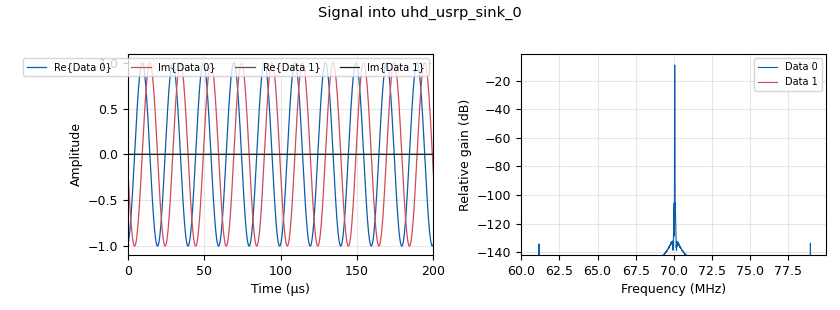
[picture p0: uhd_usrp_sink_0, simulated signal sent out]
options:
  parameters:
    generate_options: qt_gui
    id: tx_rx_cortex
    output_language: python
    title: Not titled yet
  states: {}

blocks:
- name: ampl
  id: variable_qtgui_range
  parameters:
    orient: Qt.Horizontal
    start: '0'
    step: '0.001'
    stop: '1'
    value: '1'
  states: {}
- name: if_freq
  id: variable
  parameters:
    value: '70000000'
  states: {}
- name: rf_gain
  id: variable_qtgui_range
  parameters:
    orient: Qt.Horizontal
    start: '-30'
    step: '1'
    stop: '30'
    value: '0'
  states: {}
- name: samp_rate
  id: variable
  parameters:
    value: 20e6
  states: {}
- name: sensitivity
  id: variable
  parameters:
    value: np.pi * sweep_range/samp_rate
  states: {}
- name: sweep_range
  id: variable
  parameters:
    value: '100000'
  states: {}
- name: sweep_rate
  id: variable
  parameters:
    value: '0.05'
  states: {}
- name: analog_frequency_modulator_fc_0
  id: analog_frequency_modulator_fc
  parameters:
    sensitivity: sensitivity
  states: {}
- name: analog_sig_source_x_0
  id: analog_sig_source_x
  parameters:
    amp: '2'
    freq: sweep_rate
    offset: '-1'
    phase: '0'
    samp_rate: samp_rate
    type: float
    waveform: analog.GR_TRI_WAVE
  states: {}
- name: blocks_multiply_const_vxx_0
  id: blocks_multiply_const_vxx
  parameters:
    const: ampl
    type: complex
  states: {}
- name: blocks_null_sink_0
  id: blocks_null_sink
  parameters:
    type: complex
  states: {}
- name: blocks_null_source_0
  id: blocks_null_source
  parameters:
    type: complex
  states: {}
- name: import_0
  id: import
  parameters:
    imports: import numpy as np
  states: {}
- name: qtgui_freq_sink_x_0
  id: qtgui_freq_sink_x
  parameters:
    bw: samp_rate
    fc: if_freq
    fftsize: '1024'
    type: complex
    update_time: '0'
    wintype: firdes.WIN_BLACKMAN_hARRIS
  states: {}
- name: uhd_usrp_sink_0
  id: uhd_usrp_sink
  parameters:
    ant0: TX/RX
    ant1: TX/RX
    center_freq0: if_freq
    center_freq1: '0'
    dev_addr: '"addr=192.168.30.2,second_addr=192.168.40.2"'
    dev_args: '""'
    gain0: '0'
    gain1: '0'
    len_tag_name: ''
    nchan: '2'
    norm_gain0: 'True'
    norm_gain1: 'False'
    samp_rate: samp_rate
    sync: sync
    type: fc32
  states: {}
- name: uhd_usrp_source_0
  id: uhd_usrp_source
  parameters:
    ant0: RX2
    ant1: RX2
    center_freq0: if_freq
    center_freq1: if_freq
    dc_offs_enb0: '"1"'
    dc_offs_enb1: '"1"'
    dev_addr: '"addr=192.168.30.2,second_addr=192.168.40.2"'
    dev_args: '""'
    gain0: '1'
    gain1: '1'
    iq_imbal_enb0: '""'
    iq_imbal_enb1: '""'
    nchan: '2'
    norm_gain0: 'True'
    norm_gain1: 'True'
    samp_rate: samp_rate
    sync: sync
    type: fc32
  states: {}

connections:
- [analog_frequency_modulator_fc_0, '0', blocks_multiply_const_vxx_0, '0']
- [analog_sig_source_x_0, '0', analog_frequency_modulator_fc_0, '0']
- [blocks_multiply_const_vxx_0, '0', uhd_usrp_sink_0, '0']
- [blocks_null_source_0, '0', uhd_usrp_sink_0, '1']
- [uhd_usrp_source_0, '0', blocks_null_sink_0, '0']
- [uhd_usrp_source_0, '1', qtgui_freq_sink_x_0, '0']

metadata:
  file_format: 1
